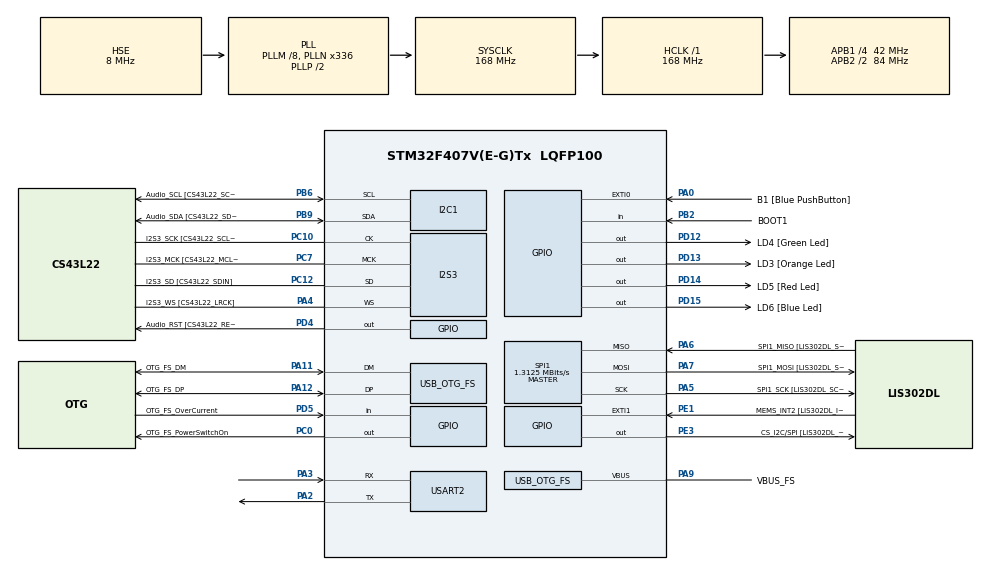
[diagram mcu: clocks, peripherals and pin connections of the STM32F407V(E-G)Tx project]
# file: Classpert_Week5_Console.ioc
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I2S3.AudioFreq-Half_Duplex_Master=I2S_AUDIOFREQ_96K
I2S3.ErrorAudioFreq=-2.34 %
I2S3.ErrorAudioFreq-Half_Duplex_Master=0.8 %
I2S3.FullDuplexMode=I2S_FULLDUPLEXMODE_DISABLE
I2S3.Instance=SPI$Index
I2S3.RealAudioFreq=93.75 KHz
I2S3.RealAudioFreq-Half_Duplex_Master=96.774 KHz
I2S3.VirtualMode=I2S_MODE_MASTER
Mcu.Family=STM32F4
Mcu.Name=STM32F407V(E-G)Tx
Mcu.Package=LQFP100
NVIC.EXTI0_IRQn=true\:0\:0\:false\:false\:true\:true\:true\:true
NVIC.OTG_FS_IRQn=true\:0\:0\:false\:false\:true\:true\:true\:true
NVIC.PriorityGroup=NVIC_PRIORITYGROUP_0
NVIC.TIM2_IRQn=true\:0\:0\:false\:false\:true\:true\:true\:true
PA0-WKUP.GPIO_Label=B1 [Blue PushButton]
PA0-WKUP.GPIO_ModeDefaultEXTI=GPIO_MODE_IT_RISING
PA0-WKUP.GPIO_PuPd=GPIO_NOPULL
PA0-WKUP.Signal=GPXTI0
PA10.GPIO_Label=OTG_FS_ID
PA10.GPIO_Mode=GPIO_MODE_AF_PP
PA10.GPIO_PuPd=GPIO_NOPULL
PA10.GPIO_Speed=GPIO_SPEED_FREQ_LOW
PA10.Signal=USB_OTG_FS_ID
PA11.GPIO_Label=OTG_FS_DM
PA11.GPIO_Mode=GPIO_MODE_AF_PP
PA11.GPIO_PuPd=GPIO_NOPULL
PA11.GPIO_Speed=GPIO_SPEED_FREQ_LOW
PA11.Mode=Device_Only
PA11.Signal=USB_OTG_FS_DM
PA12.GPIO_Label=OTG_FS_DP
PA12.GPIO_Mode=GPIO_MODE_AF_PP
PA12.GPIO_PuPd=GPIO_NOPULL
PA12.GPIO_Speed=GPIO_SPEED_FREQ_LOW
PA12.Mode=Device_Only
PA12.Signal=USB_OTG_FS_DP
PA13.GPIO_Label=SWDIO
PA13.Mode=Serial_Wire
PA13.Signal=SYS_JTMS-SWDIO
PA14.GPIO_Label=SWCLK
PA14.Mode=Serial_Wire
PA14.Signal=SYS_JTCK-SWCLK
PA2.Mode=Asynchronous
PA2.Signal=USART2_TX
PA3.Mode=Asynchronous
PA3.Signal=USART2_RX
PA4.GPIO_Label=I2S3_WS [CS43L22_LRCK]
PA4.GPIO_Mode=GPIO_MODE_AF_PP
PA4.GPIO_PuPd=GPIO_NOPULL
PA4.GPIO_Speed=GPIO_SPEED_FREQ_LOW
PA4.Mode=Half_Duplex_Master
PA4.Signal=I2S3_WS
PA5.GPIO_Label=SPI1_SCK [LIS302DL_SCL/SPC]
PA5.GPIO_Mode=GPIO_MODE_AF_PP
PA5.GPIO_PuPd=GPIO_NOPULL
PA5.GPIO_Speed=GPIO_SPEED_FREQ_LOW
PA5.Mode=Full_Duplex_Master
PA5.Signal=SPI1_SCK
PA6.GPIO_Label=SPI1_MISO [LIS302DL_SDO]
PA6.GPIO_Mode=GPIO_MODE_AF_PP
PA6.GPIO_PuPd=GPIO_NOPULL
PA6.GPIO_Speed=GPIO_SPEED_FREQ_LOW
PA6.Mode=Full_Duplex_Master
PA6.Signal=SPI1_MISO
PA7.GPIO_Label=SPI1_MOSI [LIS302DL_SDA/SDI/SDO]
PA7.GPIO_Mode=GPIO_MODE_AF_PP
PA7.GPIO_PuPd=GPIO_NOPULL
PA7.GPIO_Speed=GPIO_SPEED_FREQ_LOW
PA7.Mode=Full_Duplex_Master
PA7.Signal=SPI1_MOSI
PA9.GPIO_Label=VBUS_FS
PA9.GPIO_Mode=GPIO_MODE_INPUT
PA9.GPIO_PuPd=GPIO_NOPULL
PA9.Mode=Activate_VBUS
PA9.Signal=USB_OTG_FS_VBUS
PB10.GPIO_Label=CLK_IN [MP45DT02_CLK]
PB10.GPIO_Mode=GPIO_MODE_AF_PP
PB10.GPIO_PuPd=GPIO_NOPULL
PB10.GPIO_Speed=GPIO_SPEED_FREQ_LOW
PB10.Signal=I2S2_CK
PB2.GPIO_Label=BOOT1
PB2.GPIO_Mode=GPIO_MODE_INPUT
PB2.GPIO_PuPd=GPIO_NOPULL
PB2.Signal=GPIO_Input
PB3.GPIO_Label=SWO
PB3.Signal=SYS_JTDO-SWO
PB6.GPIO_Label=Audio_SCL [CS43L22_SCL]
PB6.GPIO_Mode=GPIO_MODE_AF_OD
PB6.GPIO_Pu=GPIO_PULLUP
PB6.GPIO_PuPd=GPIO_NOPULL
PB6.GPIO_Speed=GPIO_SPEED_FREQ_LOW
PB6.Mode=I2C
PB6.Signal=I2C1_SCL
PB9.GPIO_Label=Audio_SDA [CS43L22_SDA]
PB9.GPIO_Mode=GPIO_MODE_AF_OD
PB9.GPIO_Pu=GPIO_PULLUP
PB9.GPIO_PuPd=GPIO_NOPULL
PB9.GPIO_Speed=GPIO_SPEED_FREQ_LOW
PB9.Mode=I2C
PB9.Signal=I2C1_SDA
PC0.GPIO_Label=OTG_FS_PowerSwitchOn
PC0.GPIO_PuPd=GPIO_NOPULL
PC0.GPIO_Speed=GPIO_SPEED_FREQ_LOW
PC0.PinState=GPIO_PIN_SET
PC0.Signal=GPIO_Output
PC10.GPIO_Label=I2S3_SCK [CS43L22_SCLK]
PC10.GPIO_Mode=GPIO_MODE_AF_PP
PC10.GPIO_PuPd=GPIO_NOPULL
PC10.GPIO_Speed=GPIO_SPEED_FREQ_LOW
PC10.Mode=Half_Duplex_Master
PC10.Signal=I2S3_CK
PC12.GPIO_Label=I2S3_SD [CS43L22_SDIN]
PC12.GPIO_Mode=GPIO_MODE_AF_PP
PC12.GPIO_PuPd=GPIO_NOPULL
PC12.GPIO_Speed=GPIO_SPEED_FREQ_LOW
PC12.Mode=Half_Duplex_Master
PC12.Signal=I2S3_SD
PC14-OSC32_IN.GPIO_Label=PC14-OSC32_IN
PC14-OSC32_IN.Mode=LSE-External-Oscillator
PC14-OSC32_IN.Signal=RCC_OSC32_IN
PC15-OSC32_OUT.GPIO_Label=PC15-OSC32_OUT
PC15-OSC32_OUT.Mode=LSE-External-Oscillator
PC15-OSC32_OUT.Signal=RCC_OSC32_OUT
PC3.GPIO_Label=PDM_OUT [MP45DT02_DOUT]
PC3.GPIO_Mode=GPIO_MODE_AF_PP
PC3.GPIO_PuPd=GPIO_NOPULL
PC3.GPIO_Speed=GPIO_SPEED_FREQ_LOW
PC3.Signal=I2S2_SD
PC7.GPIO_Label=I2S3_MCK [CS43L22_MCLK]
PC7.GPIO_Mode=GPIO_MODE_AF_PP
PC7.GPIO_PuPd=GPIO_NOPULL
PC7.GPIO_Speed=GPIO_SPEED_FREQ_LOW
PC7.Mode=Master_Clock_Activated
PC7.Signal=I2S3_MCK
PD12.GPIO_Label=LD4 [Green Led]
PD12.GPIO_PuPd=GPIO_NOPULL
PD12.GPIO_Speed=GPIO_SPEED_FREQ_LOW
PD12.Signal=GPIO_Output
PD13.GPIO_Label=LD3 [Orange Led]
PD13.GPIO_PuPd=GPIO_NOPULL
PD13.GPIO_Speed=GPIO_SPEED_FREQ_LOW
PD13.Signal=GPIO_Output
PD14.GPIO_Label=LD5 [Red Led]
PD14.GPIO_PuPd=GPIO_NOPULL
PD14.GPIO_Speed=GPIO_SPEED_FREQ_LOW
PD14.Signal=GPIO_Output
PD15.GPIO_Label=LD6 [Blue Led]
PD15.GPIO_PuPd=GPIO_NOPULL
PD15.GPIO_Speed=GPIO_SPEED_FREQ_LOW
PD15.Signal=GPIO_Output
PD4.GPIO_Label=Audio_RST [CS43L22_RESET]
PD4.GPIO_PuPd=GPIO_NOPULL
PD4.GPIO_Speed=GPIO_SPEED_FREQ_LOW
PD4.Signal=GPIO_Output
PD5.GPIO_Label=OTG_FS_OverCurrent
PD5.GPIO_Mode=GPIO_MODE_INPUT
PD5.GPIO_PuPd=GPIO_NOPULL
PD5.Signal=GPIO_Input
PE1.GPIO_Label=MEMS_INT2 [LIS302DL_INT2]
PE1.GPIO_ModeDefaultEXTI=GPIO_MODE_EVT_RISING
PE1.GPIO_PuPd=GPIO_NOPULL
PE1.Signal=GPXTI1
PE3.GPIO_Label=CS_I2C/SPI [LIS302DL_CS_I2C/SPI]
PE3.GPIO_PuPd=GPIO_NOPULL
PE3.GPIO_Speed=GPIO_SPEED_FREQ_LOW
PE3.Signal=GPIO_Output
PH0-OSC_IN.GPIO_Label=PH0-OSC_IN
PH0-OSC_IN.Mode=HSE-External-Oscillator
PH0-OSC_IN.Signal=RCC_OSC_IN
PH1-OSC_OUT.GPIO_Label=PH1-OSC_OUT
PH1-OSC_OUT.Mode=HSE-External-Oscillator
PH1-OSC_OUT.Signal=RCC_OSC_OUT
ProjectManager.HeapSize=0x200
ProjectManager.StackSize=0x400
ProjectManager.TargetToolchain=STM32CubeIDE
RCC.48MHZClocksFreq_Value=48000000
RCC.AHBFreq_Value=168000000
RCC.APB1CLKDivider=RCC_HCLK_DIV4
RCC.APB1Freq_Value=42000000
RCC.APB1TimFreq_Value=84000000
RCC.APB2CLKDivider=RCC_HCLK_DIV2
RCC.APB2Freq_Value=84000000
RCC.APB2TimFreq_Value=168000000
RCC.CortexFreq_Value=168000000
RCC.HCLKFreq_Value=168000000
RCC.HSE_VALUE=8000000
RCC.HSI_VALUE=16000000
RCC.PLLM=8
RCC.PLLN=336
RCC.PLLQ=7
RCC.SYSCLKFreq_VALUE=168000000
RCC.SYSCLKSource=RCC_SYSCLKSOURCE_PLLCLK
RCC.VCOOutputFreq_Value=336000000
SPI1.BaudRatePrescaler=SPI_BAUDRATEPRESCALER_64
SPI1.BaudRatePrescaler-Full_Duplex_Master=SPI_BAUDRATEPRESCALER_2
SPI1.CLKPhase=SPI_PHASE_1EDGE
SPI1.CLKPolarity=SPI_POLARITY_HIGH
SPI1.CalculateBaudRate=1.3125 MBits/s
SPI1.CalculateBaudRate-Full_Duplex_Master=42.0 MBits/s
SPI1.Direction=SPI_DIRECTION_2LINES
SPI1.Mode=SPI_MODE_MASTER
SPI1.Mode-Full_Duplex_Master=SPI_MODE_MASTER
SPI1.VirtualType=VM_MASTER
TIM2.Channel-Output\ Compare1\ No\ Output=TIM_CHANNEL_1
TIM2.Period=0
TIM2.Prescaler=84
TIM2.Pulse-Output\ Compare1\ No\ Output=20000
USART2.VirtualMode=VM_ASYNC
USB_DEVICE.CLASS_NAME_FS=CDC
USB_DEVICE.VirtualMode-CDC_FS=Cdc
USB_DEVICE.VirtualModeFS=Cdc_FS
USB_OTG_FS.VirtualMode=Device_Only
VP_RNG_VS_RNG.Mode=RNG_Activate
VP_TIM2_VS_ClockSourceINT.Mode=Internal
VP_TIM2_VS_no_output1.Mode=Output Compare1 No Output
VP_USB_DEVICE_VS_USB_DEVICE_CDC_FS.Mode=CDC_FS
board=STM32F407G-DISC1

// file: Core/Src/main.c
/* USER CODE BEGIN Header */
/**
  ******************************************************************************
  * @file           : main.c
  * @brief          : Main program body
  ******************************************************************************
  * @attention
  *
  * Copyright (c) 2023 STMicroelectronics.
  * All rights reserved.
  *
  * This software is licensed under terms that can be found in the LICENSE file
  * in the root directory of this software component.
  * If no LICENSE file comes with this software, it is provided AS-IS.
  *
  ******************************************************************************
  */
/* USER CODE END Header */
#include "main.h"
#include "usb_device.h"

/* USER CODE BEGIN Includes */
#include "custom_pindefines.h"
#include "state_defines.h"
#include "app.h"

#include "console.h"

#include "accelerometer.h"

#include "lis3dsh.h"

/* USER CODE END Includes */

I2C_HandleTypeDef hi2c1;

I2S_HandleTypeDef hi2s3;

RNG_HandleTypeDef hrng;

SPI_HandleTypeDef hspi1;

TIM_HandleTypeDef htim2;

UART_HandleTypeDef huart2;

void SystemClock_Config(void);
static void MX_GPIO_Init(void);
static void MX_I2C1_Init(void);
static void MX_I2S3_Init(void);
static void MX_SPI1_Init(void);
static void MX_TIM2_Init(void);
static void MX_RNG_Init(void);
static void MX_USART2_UART_Init(void);

/* USER CODE BEGIN 0 */
ledState LedState = ROTATE;	//Set the default

/* USER CODE END 0 */

int main(void)
{
  /* USER CODE BEGIN 1 */
	uint16_t acceleroInitParam = 0;

  /* USER CODE END 1 */

  /* MCU Configuration--------------------------------------------------------*/

  /* Reset of all peripherals, Initializes the Flash interface and the Systick. */
  HAL_Init();

  /* Configure the system clock */
  SystemClock_Config();

  /* Initialize all configured peripherals */
  MX_GPIO_Init();
  MX_I2C1_Init();
  MX_I2S3_Init();
  MX_SPI1_Init();
  MX_TIM2_Init();
  MX_USB_DEVICE_Init();
  MX_RNG_Init();
  MX_USART2_UART_Init();
  /* USER CODE BEGIN 2 */

  HAL_Delay(1000);

  ConsoleInit();

  //uint16_t lowest part: data for control reg 4: controls ODR and axes enabled
  acceleroInitParam = LIS3DSH_DATARATE_3_125 | LIS3DSH_XYZ_ENABLE;

  //uint16_t highest part: data for control reg 5
  //acceleroInitParam |=

  LIS3DSH_Init(acceleroInitParam);

  uint8_t accId = LIS3DSH_ReadID();

  if (accId == I_AM_LIS3DSH)
  {
	  LedState = POLICE;
  }

  //EnableImu();

  /* USER CODE END 2 */

  /* Infinite loop */
  /* USER CODE BEGIN WHILE */
  while (1)
  {
	  mainApp();
    /* USER CODE END WHILE */

  }
}

void SystemClock_Config(void)
{
  RCC_OscInitTypeDef RCC_OscInitStruct = {0};
  RCC_ClkInitTypeDef RCC_ClkInitStruct = {0};

  /** Configure the main internal regulator output voltage
  */
  __HAL_RCC_PWR_CLK_ENABLE();
  __HAL_PWR_VOLTAGESCALING_CONFIG(PWR_REGULATOR_VOLTAGE_SCALE1);

  /** Initializes the RCC Oscillators according to the specified parameters
  * in the RCC_OscInitTypeDef structure.
  */
  RCC_OscInitStruct.OscillatorType = RCC_OSCILLATORTYPE_HSE;
  RCC_OscInitStruct.HSEState = RCC_HSE_ON;
  RCC_OscInitStruct.PLL.PLLState = RCC_PLL_ON;
  RCC_OscInitStruct.PLL.PLLSource = RCC_PLLSOURCE_HSE;
  RCC_OscInitStruct.PLL.PLLM = 8;
  RCC_OscInitStruct.PLL.PLLN = 336;
  RCC_OscInitStruct.PLL.PLLP = RCC_PLLP_DIV2;
  RCC_OscInitStruct.PLL.PLLQ = 7;
  if (HAL_RCC_OscConfig(&RCC_OscInitStruct) != HAL_OK)
  {
    Error_Handler();
  }

  /** Initializes the CPU, AHB and APB buses clocks
  */
  RCC_ClkInitStruct.ClockType = RCC_CLOCKTYPE_HCLK|RCC_CLOCKTYPE_SYSCLK
                              |RCC_CLOCKTYPE_PCLK1|RCC_CLOCKTYPE_PCLK2;
  RCC_ClkInitStruct.SYSCLKSource = RCC_SYSCLKSOURCE_PLLCLK;
  RCC_ClkInitStruct.AHBCLKDivider = RCC_SYSCLK_DIV1;
  RCC_ClkInitStruct.APB1CLKDivider = RCC_HCLK_DIV4;
  RCC_ClkInitStruct.APB2CLKDivider = RCC_HCLK_DIV2;

  if (HAL_RCC_ClockConfig(&RCC_ClkInitStruct, FLASH_LATENCY_5) != HAL_OK)
  {
    Error_Handler();
  }
}

static void MX_I2C1_Init(void)
{

  hi2c1.Instance = I2C1;
  hi2c1.Init.ClockSpeed = 100000;
  hi2c1.Init.DutyCycle = I2C_DUTYCYCLE_2;
  hi2c1.Init.OwnAddress1 = 0;
  hi2c1.Init.AddressingMode = I2C_ADDRESSINGMODE_7BIT;
  hi2c1.Init.DualAddressMode = I2C_DUALADDRESS_DISABLE;
  hi2c1.Init.OwnAddress2 = 0;
  hi2c1.Init.GeneralCallMode = I2C_GENERALCALL_DISABLE;
  hi2c1.Init.NoStretchMode = I2C_NOSTRETCH_DISABLE;
  if (HAL_I2C_Init(&hi2c1) != HAL_OK)
  {
    Error_Handler();
  }

}

static void MX_I2S3_Init(void)
{

  hi2s3.Instance = SPI3;
  hi2s3.Init.Mode = I2S_MODE_MASTER_TX;
  hi2s3.Init.Standard = I2S_STANDARD_PHILIPS;
  hi2s3.Init.DataFormat = I2S_DATAFORMAT_16B;
  hi2s3.Init.MCLKOutput = I2S_MCLKOUTPUT_ENABLE;
  hi2s3.Init.AudioFreq = I2S_AUDIOFREQ_96K;
  hi2s3.Init.CPOL = I2S_CPOL_LOW;
  hi2s3.Init.ClockSource = I2S_CLOCK_PLL;
  hi2s3.Init.FullDuplexMode = I2S_FULLDUPLEXMODE_DISABLE;
  if (HAL_I2S_Init(&hi2s3) != HAL_OK)
  {
    Error_Handler();
  }

}

static void MX_RNG_Init(void)
{

  hrng.Instance = RNG;
  if (HAL_RNG_Init(&hrng) != HAL_OK)
  {
    Error_Handler();
  }

}

static void MX_SPI1_Init(void)
{

  /* SPI1 parameter configuration*/
  hspi1.Instance = SPI1;
  hspi1.Init.Mode = SPI_MODE_MASTER;
  hspi1.Init.Direction = SPI_DIRECTION_2LINES;
  hspi1.Init.DataSize = SPI_DATASIZE_8BIT;
  hspi1.Init.CLKPolarity = SPI_POLARITY_LOW;
  hspi1.Init.CLKPhase = SPI_PHASE_1EDGE;
  hspi1.Init.NSS = SPI_NSS_SOFT;
  hspi1.Init.BaudRatePrescaler = SPI_BAUDRATEPRESCALER_64;
  hspi1.Init.FirstBit = SPI_FIRSTBIT_MSB;
  hspi1.Init.TIMode = SPI_TIMODE_DISABLE;
  hspi1.Init.CRCCalculation = SPI_CRCCALCULATION_DISABLE;
  hspi1.Init.CRCPolynomial = 10;
  if (HAL_SPI_Init(&hspi1) != HAL_OK)
  {
    Error_Handler();
  }

}

static void MX_TIM2_Init(void)
{

  TIM_ClockConfigTypeDef sClockSourceConfig = {0};
  TIM_MasterConfigTypeDef sMasterConfig = {0};
  TIM_OC_InitTypeDef sConfigOC = {0};

  htim2.Instance = TIM2;
  htim2.Init.Prescaler = 84;
  htim2.Init.CounterMode = TIM_COUNTERMODE_UP;
  htim2.Init.Period = 0;
  htim2.Init.ClockDivision = TIM_CLOCKDIVISION_DIV1;
  htim2.Init.AutoReloadPreload = TIM_AUTORELOAD_PRELOAD_DISABLE;
  if (HAL_TIM_Base_Init(&htim2) != HAL_OK)
  {
    Error_Handler();
  }
  sClockSourceConfig.ClockSource = TIM_CLOCKSOURCE_INTERNAL;
  if (HAL_TIM_ConfigClockSource(&htim2, &sClockSourceConfig) != HAL_OK)
  {
    Error_Handler();
  }
  if (HAL_TIM_OC_Init(&htim2) != HAL_OK)
  {
    Error_Handler();
  }
  sMasterConfig.MasterOutputTrigger = TIM_TRGO_RESET;
  sMasterConfig.MasterSlaveMode = TIM_MASTERSLAVEMODE_DISABLE;
  if (HAL_TIMEx_MasterConfigSynchronization(&htim2, &sMasterConfig) != HAL_OK)
  {
    Error_Handler();
  }
  sConfigOC.OCMode = TIM_OCMODE_TIMING;
  sConfigOC.Pulse = 20000;
  sConfigOC.OCPolarity = TIM_OCPOLARITY_HIGH;
  sConfigOC.OCFastMode = TIM_OCFAST_DISABLE;
  if (HAL_TIM_OC_ConfigChannel(&htim2, &sConfigOC, TIM_CHANNEL_1) != HAL_OK)
  {
    Error_Handler();
  }

}

static void MX_USART2_UART_Init(void)
{

  huart2.Instance = USART2;
  huart2.Init.BaudRate = 115200;
  huart2.Init.WordLength = UART_WORDLENGTH_8B;
  huart2.Init.StopBits = UART_STOPBITS_1;
  huart2.Init.Parity = UART_PARITY_NONE;
  huart2.Init.Mode = UART_MODE_TX_RX;
  huart2.Init.HwFlowCtl = UART_HWCONTROL_NONE;
  huart2.Init.OverSampling = UART_OVERSAMPLING_16;
  if (HAL_UART_Init(&huart2) != HAL_OK)
  {
    Error_Handler();
  }

}

static void MX_GPIO_Init(void)
{
  GPIO_InitTypeDef GPIO_InitStruct = {0};

  /* GPIO Ports Clock Enable */
  __HAL_RCC_GPIOE_CLK_ENABLE();
  __HAL_RCC_GPIOC_CLK_ENABLE();
  __HAL_RCC_GPIOH_CLK_ENABLE();
  __HAL_RCC_GPIOA_CLK_ENABLE();
  __HAL_RCC_GPIOB_CLK_ENABLE();
  __HAL_RCC_GPIOD_CLK_ENABLE();

  /*Configure GPIO pin Output Level */
  HAL_GPIO_WritePin(CS_I2C_SPI_GPIO_Port, CS_I2C_SPI_Pin, GPIO_PIN_RESET);

  /*Configure GPIO pin Output Level */
  HAL_GPIO_WritePin(OTG_FS_PowerSwitchOn_GPIO_Port, OTG_FS_PowerSwitchOn_Pin, GPIO_PIN_SET);

  /*Configure GPIO pin Output Level */
  HAL_GPIO_WritePin(GPIOD, LD4_Pin|LD3_Pin|LD5_Pin|LD6_Pin
                          |Audio_RST_Pin, GPIO_PIN_RESET);

  /*Configure GPIO pin : CS_I2C_SPI_Pin */
  GPIO_InitStruct.Pin = CS_I2C_SPI_Pin;
  GPIO_InitStruct.Mode = GPIO_MODE_OUTPUT_PP;
  GPIO_InitStruct.Pull = GPIO_NOPULL;
  GPIO_InitStruct.Speed = GPIO_SPEED_FREQ_LOW;
  HAL_GPIO_Init(CS_I2C_SPI_GPIO_Port, &GPIO_InitStruct);

  /*Configure GPIO pin : OTG_FS_PowerSwitchOn_Pin */
  GPIO_InitStruct.Pin = OTG_FS_PowerSwitchOn_Pin;
  GPIO_InitStruct.Mode = GPIO_MODE_OUTPUT_PP;
  GPIO_InitStruct.Pull = GPIO_NOPULL;
  GPIO_InitStruct.Speed = GPIO_SPEED_FREQ_LOW;
  HAL_GPIO_Init(OTG_FS_PowerSwitchOn_GPIO_Port, &GPIO_InitStruct);

  /*Configure GPIO pin : PDM_OUT_Pin */
  GPIO_InitStruct.Pin = PDM_OUT_Pin;
  GPIO_InitStruct.Mode = GPIO_MODE_AF_PP;
  GPIO_InitStruct.Pull = GPIO_NOPULL;
  GPIO_InitStruct.Speed = GPIO_SPEED_FREQ_LOW;
  GPIO_InitStruct.Alternate = GPIO_AF5_SPI2;
  HAL_GPIO_Init(PDM_OUT_GPIO_Port, &GPIO_InitStruct);

  /*Configure GPIO pin : B1_Pin */
  GPIO_InitStruct.Pin = B1_Pin;
  GPIO_InitStruct.Mode = GPIO_MODE_IT_RISING;
  GPIO_InitStruct.Pull = GPIO_NOPULL;
  HAL_GPIO_Init(B1_GPIO_Port, &GPIO_InitStruct);

  /*Configure GPIO pin : BOOT1_Pin */
  GPIO_InitStruct.Pin = BOOT1_Pin;
  GPIO_InitStruct.Mode = GPIO_MODE_INPUT;
  GPIO_InitStruct.Pull = GPIO_NOPULL;
  HAL_GPIO_Init(BOOT1_GPIO_Port, &GPIO_InitStruct);

  /*Configure GPIO pin : CLK_IN_Pin */
  GPIO_InitStruct.Pin = CLK_IN_Pin;
  GPIO_InitStruct.Mode = GPIO_MODE_AF_PP;
  GPIO_InitStruct.Pull = GPIO_NOPULL;
  GPIO_InitStruct.Speed = GPIO_SPEED_FREQ_LOW;
  GPIO_InitStruct.Alternate = GPIO_AF5_SPI2;
  HAL_GPIO_Init(CLK_IN_GPIO_Port, &GPIO_InitStruct);

  /*Configure GPIO pins : LD4_Pin LD3_Pin LD5_Pin LD6_Pin
                           Audio_RST_Pin */
  GPIO_InitStruct.Pin = LD4_Pin|LD3_Pin|LD5_Pin|LD6_Pin
                          |Audio_RST_Pin;
  GPIO_InitStruct.Mode = GPIO_MODE_OUTPUT_PP;
  GPIO_InitStruct.Pull = GPIO_NOPULL;
  GPIO_InitStruct.Speed = GPIO_SPEED_FREQ_LOW;
  HAL_GPIO_Init(GPIOD, &GPIO_InitStruct);

  /*Configure GPIO pin : OTG_FS_OverCurrent_Pin */
  GPIO_InitStruct.Pin = OTG_FS_OverCurrent_Pin;
  GPIO_InitStruct.Mode = GPIO_MODE_INPUT;
  GPIO_InitStruct.Pull = GPIO_NOPULL;
  HAL_GPIO_Init(OTG_FS_OverCurrent_GPIO_Port, &GPIO_InitStruct);

  /*Configure GPIO pin : MEMS_INT2_Pin */
  GPIO_InitStruct.Pin = MEMS_INT2_Pin;
  GPIO_InitStruct.Mode = GPIO_MODE_EVT_RISING;
  GPIO_InitStruct.Pull = GPIO_NOPULL;
  HAL_GPIO_Init(MEMS_INT2_GPIO_Port, &GPIO_InitStruct);

  /* EXTI interrupt init*/
  HAL_NVIC_SetPriority(EXTI0_IRQn, 0, 0);
  HAL_NVIC_EnableIRQ(EXTI0_IRQn);

}

/* USER CODE BEGIN 4 */
void HAL_GPIO_EXTI_Callback(uint16_t GPIO_Pin)
{
  if(GPIO_Pin == BUTTON1)
  {
    LedState++;
    if (LedState >= MAXFUNCTIONS)
    {
    	LedState = ROTATE;
    }
  }
  else
  {
      __NOP();
  }
}

void HAL_TIM_PeriodElapsedCallback(TIM_HandleTypeDef *htim)
{
	/*
	if(htim-> Instance == &htim2)	//Button debounce timer
	{

	}
	*/
}

/* USER CODE END 4 */

void Error_Handler(void)
{
  __disable_irq();
  while (1)
  {
  }
}
